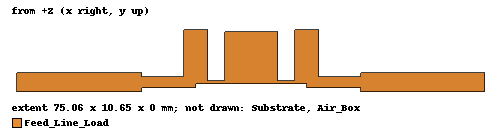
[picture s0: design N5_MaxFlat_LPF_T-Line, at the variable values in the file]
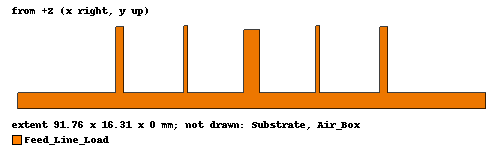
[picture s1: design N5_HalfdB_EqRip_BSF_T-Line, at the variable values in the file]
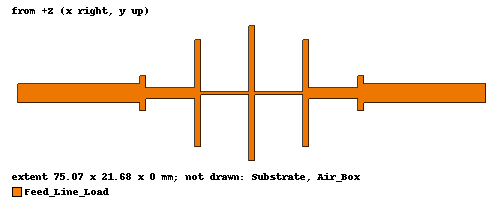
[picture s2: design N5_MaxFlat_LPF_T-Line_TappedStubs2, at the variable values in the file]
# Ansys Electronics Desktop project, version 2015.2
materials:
  vacuum: permittivity=1
  FR4: permittivity=4.1 dielectric_loss_tangent=0.01
  copper: permeability=0.999991 conductivity=58000000

design N5_MaxFlat_LPF_T-Line (HFSS, DrivenModal, model units mm)
options: Calculate_Lossy_Dielectrics
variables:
  w0 = 3.118mm
  UE_L = (17.8/2) mm
  sub_h = 62mil
  Cal_d = 15mm
  wUE1 = 0.539mm
  wUE2 = 0.539mm
  wUE3 = 1.76mm
  wUE4 = 1.76mm
  w1 = 0.084mm
  L1 = 9.095mm
  w2 = 3.963mm
  L2 = 8.351mm
  w3 = 8.4mm
  L3 = 8.04mm
  w4 = 3.963mm
  L4 = 8.351mm
  w5 = 0.084mm
  L5 = 9.095mm
  UE_L1 = 8.897mm
  UE_L2 = 8.897mm
  UE_L3 = 8.635mm
  UE_L4 = 8.635mm
  Line_L = 5mm
  _UE_L4 = 20mm
  Edge_d = 10mm
  Air_d = 10mm
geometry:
  Feed_Line_Source = rectangle(corner=(UE_L2+UE_L4, -w0/2, sub_h), x_size=Cal_d+Line_L, y_size=w0)
  Feed_Line_Load = rectangle(corner=(-(UE_L2+UE_L4), -w0/2, sub_h), x_size=-(Cal_d+Line_L), y_size=w0)
  Unit_Element_1 = rectangle(corner=(0mm, -wUE1/2, sub_h), x_size=UE_L1, y_size=wUE1)
  Unit_Element_2 = rectangle(corner=(0mm, -wUE2/2, sub_h), x_size=-UE_L2, y_size=wUE2)
  Unit_Element_3 = rectangle(corner=(UE_L1, -wUE3/2, sub_h), x_size=UE_L3, y_size=wUE3)
  Unit_Element_4 = rectangle(corner=(-UE_L2, -wUE4/2, sub_h), x_size=-UE_L4, y_size=wUE4)
  OCStub_1 = rectangle(corner=(UE_L1+UE_L3-w1/2, 0mm, sub_h), x_size=w1, y_size=L1)
  OCStub_2 = rectangle(corner=(UE_L1-w2/2, 0mm, sub_h), x_size=w2, y_size=L2)
  OCStub_3 = rectangle(corner=(-w3/2, 0mm, sub_h), x_size=w3, y_size=L3)
  OCStub_4 = rectangle(corner=(-(UE_L2-w4/2), 0mm, sub_h), x_size=-w4, y_size=L4)
  OCStub_5 = rectangle(corner=(-(UE_L2+UE_L4-w5/2), 0mm, sub_h), x_size=-w5, y_size=L5)
  Substrate [FR4] = box(corner=(-(UE_L2+UE_L4+cal_d+Line_L), -(w0/2+Edge_d), 0mm), size=(UE_L1+UE_L2+UE_L3+UE_L4+2*(cal_d+Line_L), w0+UE_L4+2*Edge_d, sub_h))
  Air_Box [vacuum] = box(corner=(-(UE_L2+UE_L4+cal_d+Line_L), -(w0/2+Edge_d), SUB_H), size=(UE_L1+UE_L2+UE_L3+UE_L4+2*(cal_d+Line_L), w0+UE_L4+2*Edge_d, Air_d))
  Feed_Line_Load.unite(Unit_Element_4, Unit_Element_3, Unit_Element_2, Unit_Element_1, OCStub_5, OCStub_4, OCStub_3, OCStub_2, OCStub_1, Feed_Line_Source)
  Rectangle1 [non-model] = rectangle(corner=(4.2mm, 0.2695mm, 1.5748mm), x_size=2.7155mm, y_size=8.0815mm)
  Rectangle2 [non-model] = rectangle(corner=(17.49mm, 9.095mm, 1.5748mm), x_size=-6.69mm, y_size=-8.295mm)
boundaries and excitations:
  Metal: Finite Conductivity Objects=Feed_Line_Load UseMaterial Material=copper
  Rad: Radiation Faces=Substrate.face(-y, +y) Air_Box.face(+z, -y, +y)
  1: Wave Port Faces=Substrate.face(+x) Air_Box.face(+x) NumModes=1 DeembedDist=19.9585mm Modes{Mode1{CharImp=Zpi}}
  2: Wave Port Faces=Substrate.face(-x) Air_Box.face(-x) NumModes=1 DeembedDist=19.9585mm Modes{Mode1{CharImp=Zpi}}
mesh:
  initial mesh: GlobalSurfApproximation{SurfDevChoice=0 NormalDevChoice=1 AspectRatioChoice=1 SetFacePreservationLevel=0}
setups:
  Setup1: HfssDriven Frequency=2.5GHz MaxDeltaS=0.01 MaximumPasses=20 MinimumPasses=1 MinimumConvergedPasses=1 PercentRefinement=30 BasisOrder=1 PortAccuracy=2
    sweep Sweep: 1GHz to 5GHz step 0.001GHz; Type=Interpolating InterpTolerance=0.5 InterpMaxSolns=250 InterpUsePortImped=false
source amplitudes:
  1:1: 1W 0deg
  2:1: 0W 0deg
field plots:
  Vector_E1: E Field over a plane on Setup1 : LastAdaptive at Freq=2.5GHz Phase=0deg
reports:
  N5_MaxFlat_LPF_T-Line S parameter: dB(S(1,1)), dB(S(2,1)) vs Freq on Setup1 : Sweep [wUE1=all wUE2=all wUE3=all wUE4=all w1=all L1=all w2=all L2=all w3=all L3=all w4=all L4=all w5=all L5=all UE_L1=all UE_L2=all UE_L3=all UE_L4=all]; markers MX1 at x=3.2455243e+09, MX2 at x=2.5038363e+09

design N5_HalfdB_EqRip_BSF_T-Line (HFSS, DrivenModal, model units mm)
options: Calculate_Lossy_Dielectrics
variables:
  w0 = 3.116mm
  UE_L = 12.94mm
  sub_h = 62mil
  Cal_d = 15mm
  wUE1 = w0
  wUE2 = w0
  wUE3 = w0
  wUE4 = w0
  w1 = 1.478mm
  L1 = 14.45mm
  w2 = 0.666mm
  L2 = 14.75mm
  w3 = 3.116mm
  L3 = 14.03mm
  w4 = 0.666mm
  L4 = 14.75mm
  w5 = 1.478mm
  L5 = 14.45mm
  UE_L1 = UE_L
  UE_L2 = UE_L
  UE_L3 = UE_L
  UE_L4 = UE_L
  Line_L = 5mm
  Edge_d = 10mm
  Air_d = 10mm
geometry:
  Feed_Line_Source = rectangle(corner=(UE_L2+UE_L4, -w0/2, sub_h), x_size=Cal_d+Line_L, y_size=w0)
  Feed_Line_Load = rectangle(corner=(-(UE_L2+UE_L4), -w0/2, sub_h), x_size=-(Cal_d+Line_L), y_size=w0)
  Unit_Element_1 = rectangle(corner=(0mm, -wUE1/2, sub_h), x_size=UE_L1, y_size=wUE1)
  Unit_Element_2 = rectangle(corner=(0mm, -wUE2/2, sub_h), x_size=-UE_L2, y_size=wUE2)
  Unit_Element_3 = rectangle(corner=(UE_L1, -wUE3/2, sub_h), x_size=UE_L3, y_size=wUE3)
  Unit_Element_4 = rectangle(corner=(-UE_L2, -wUE4/2, sub_h), x_size=-UE_L4, y_size=wUE4)
  OCStub_1 = rectangle(corner=(UE_L1+UE_L3-w1/2, 0mm, sub_h), x_size=w1, y_size=L1)
  OCStub_2 = rectangle(corner=(UE_L1-w2/2, 0mm, sub_h), x_size=w2, y_size=L2)
  OCStub_3 = rectangle(corner=(-w3/2, 0mm, sub_h), x_size=w3, y_size=L3)
  OCStub_4 = rectangle(corner=(-(UE_L2-w4/2), 0mm, sub_h), x_size=-w4, y_size=L4)
  OCStub_5 = rectangle(corner=(-(UE_L2+UE_L4-w5/2), 0mm, sub_h), x_size=-w5, y_size=L5)
  Substrate [FR4] = box(corner=(-(UE_L2+UE_L4+cal_d+Line_L), -(w0/2+Edge_d), 0mm), size=(UE_L1+UE_L2+UE_L3+UE_L4+2*(cal_d+Line_L), w0+UE_L4+2*Edge_d, sub_h))
  Air_Box [vacuum] = box(corner=(-(UE_L2+UE_L4+cal_d+Line_L), -(w0/2+Edge_d), SUB_H), size=(UE_L1+UE_L2+UE_L3+UE_L4+2*(cal_d+Line_L), w0+UE_L4+2*Edge_d, Air_d))
  Feed_Line_Load.unite(Unit_Element_4, Unit_Element_3, Unit_Element_2, Unit_Element_1, OCStub_5, OCStub_4, OCStub_3, OCStub_2, OCStub_1, Feed_Line_Source)
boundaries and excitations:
  Metal: Finite Conductivity Objects=Feed_Line_Load UseMaterial Material=copper
  Rad: Radiation Faces=Substrate.face(-y, +y) Air_Box.face(+z, -y, +y)
  1: Wave Port Faces=Substrate.face(+x) Air_Box.face(+x) NumModes=1 Modes{Mode1{CharImp=Zpi}}
  2: Wave Port Faces=Substrate.face(-x) Air_Box.face(-x) NumModes=1 Modes{Mode1{CharImp=Zpi}}
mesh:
  initial mesh: GlobalSurfApproximation{SurfDevChoice=0 NormalDevChoice=1 AspectRatioChoice=1 SetFacePreservationLevel=0}
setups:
  Setup1: HfssDriven Frequency=2.5GHz MaxDeltaS=0.01 MaximumPasses=20 MinimumPasses=1 MinimumConvergedPasses=1 PercentRefinement=30 BasisOrder=1 PortAccuracy=2
    sweep Sweep: 1GHz to 5GHz step 0.001GHz; Type=Interpolating InterpTolerance=0.5 InterpMaxSolns=250 InterpUsePortImped=false
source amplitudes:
  1:1: 1W 0deg
  2:1: 0W 0deg
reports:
  S_Parameters_dB: dB(S(Feed,Feed)), dB(S(Feed,Load)), dB(S(Load,Feed)), dB(S(Load,Load)) vs Freq on Setup1 : Sweep; markers m1 at 2.5GHz, m2 at 3.25GHz
  N5_HalfdB_EqRip_BSF_T-Line S parameter: dB(S(1,1)), dB(S(2,1)) vs Freq on Setup1 : Sweep; markers MX1 at x=3.7468031e+09, MX2 at x=2.2521087e+09

design N5_MaxFlat_LPF_T-Line_TappedStubs2 (HFSS, DrivenModal, model units mm)
options: Calculate_Lossy_Dielectrics
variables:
  UE_L = (17.8/2) mm
  w0 = 3.118mm
  sub_h = 62mil
  Cal_d = 15mm
  wUE1 = 0.539mm
  wUE2 = 0.539mm
  wUE3 = 1.76mm
  wUE4 = 1.76mm
  UE_L1 = 8.635mm
  UE_L2 = 8.635mm
  UE_L3 = 8.9mm
  UE_L4 = 8.9mm
  w1 = 1mm
  L1 = 2.79mm
  w2 = 1mm
  L2 = 8.531mm
  w3 = 1mm
  L3 = 10.841mm
  w4 = 1mm
  L4 = 8.531mm
  w5 = 1mm
  L5 = 2.79mm
  Line_L = 5mm
  _UE_L4 = 10mm
  Edge_d = 10mm
  Air_d = 10mm
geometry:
  Feed_Line_Source = rectangle(corner=(UE_L2+UE_L4, -w0/2, sub_h), x_size=Cal_d+Line_L, y_size=w0)
  Feed_Line_Load = rectangle(corner=(-(UE_L2+UE_L4), -w0/2, sub_h), x_size=-(Cal_d+Line_L), y_size=w0)
  Unit_Element_1 = rectangle(corner=(0mm, -wUE1/2, sub_h), x_size=UE_L1, y_size=wUE1)
  Unit_Element_2 = rectangle(corner=(0mm, -wUE2/2, sub_h), x_size=-UE_L2, y_size=wUE2)
  Unit_Element_3 = rectangle(corner=(UE_L1, -wUE3/2, sub_h), x_size=UE_L3, y_size=wUE3)
  Unit_Element_4 = rectangle(corner=(-UE_L2, -wUE4/2, sub_h), x_size=-UE_L4, y_size=wUE4)
  OCStub_1_1 = rectangle(corner=(UE_L1+UE_L3-w1/2, 0mm, sub_h), x_size=w1, y_size=L1)
  OCStub_2_1 = rectangle(corner=(UE_L1-w2/2, 0mm, sub_h), x_size=w2, y_size=L2)
  OCStub_3_1 = rectangle(corner=(-w3/2, 0mm, sub_h), x_size=w3, y_size=L3)
  OCStub_4_1 = rectangle(corner=(-(UE_L2-w4/2), 0mm, sub_h), x_size=-w4, y_size=L4)
  OCStub_5_1 = rectangle(corner=(-(UE_L2+UE_L4-w5/2), 0mm, sub_h), x_size=-w5, y_size=L5)
  Substrate [FR4] = box(corner=(-(UE_L2+UE_L4+cal_d+Line_L), -(w0/2+Edge_d+UE_L), 0mm), size=(UE_L1+UE_L2+UE_L3+UE_L4+2*(cal_d+Line_L), w0+2*UE_L+2*Edge_d, sub_h))
  Air_Box [vacuum] = box(corner=(-(UE_L2+UE_L4+cal_d+Line_L), -(w0/2+Edge_d+UE_L), sub_h), size=(UE_L1+UE_L2+UE_L3+UE_L4+2*(cal_d+Line_L), w0+2*UE_L+2*Edge_d, Air_d))
  OCStub_3_2 = rectangle(corner=(-w3/2, 0mm, sub_h), x_size=w3, y_size=-L3)
  OCStub_2_2 = rectangle(corner=(UE_L1-w2/2, 0mm, sub_h), x_size=w2, y_size=-L2)
  OCStub_4_2 = rectangle(corner=(-(UE_L2-w4/2), 0mm, sub_h), x_size=-w4, y_size=-L4)
  OCStub_1_2 = rectangle(corner=(UE_L1+UE_L3-w1/2, 0mm, sub_h), x_size=w1, y_size=-L1)
  OCStub_5_2 = rectangle(corner=(-(UE_L2+UE_L4-w5/2), 0mm, sub_h), x_size=-w5, y_size=-L5)
  Feed_Line_Load.unite(Feed_Line_Source, OCStub_1_1, OCStub_1_2, OCStub_2_1, OCStub_2_2, OCStub_3_1, OCStub_3_2, OCStub_4_1, OCStub_4_2, OCStub_5_1, OCStub_5_2, Unit_Element_1..Unit_Element_4)
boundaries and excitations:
  Metal: Finite Conductivity Objects=Feed_Line_Load UseMaterial Material=copper
  Rad: Radiation Faces=Substrate.face(-y, +y) Air_Box.face(+z, -y, +y)
  1: Wave Port Faces=Substrate.face(+x) Air_Box.face(+x) NumModes=1 Modes{Mode1{CharImp=Zpi}}
  2: Wave Port Faces=Substrate.face(-x) Air_Box.face(-x) NumModes=1 Modes{Mode1{CharImp=Zpi}}
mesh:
  initial mesh: GlobalSurfApproximation{SurfDevChoice=0 NormalDevChoice=1 AspectRatioChoice=1 SetFacePreservationLevel=0}
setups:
  Setup1: HfssDriven Frequency=2.5GHz MaxDeltaS=0.01 MaximumPasses=20 MinimumPasses=1 MinimumConvergedPasses=1 PercentRefinement=30 BasisOrder=1 PortAccuracy=2
    sweep Sweep: 1GHz to 5GHz step 0.001GHz; Type=Interpolating InterpTolerance=0.5 InterpMaxSolns=250 InterpUsePortImped=false
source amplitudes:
  1:1: 1W 0deg
  2:1: 0W 0deg
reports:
  N5_MaxFlat_LPF_T-Line_TappedStubs S parameter: dB(S(1,1)), dB(S(2,1)) vs Freq on Setup1 : Sweep; markers MX1 at x=3.2506394e+09, MX2 at x=2.5038363e+09
